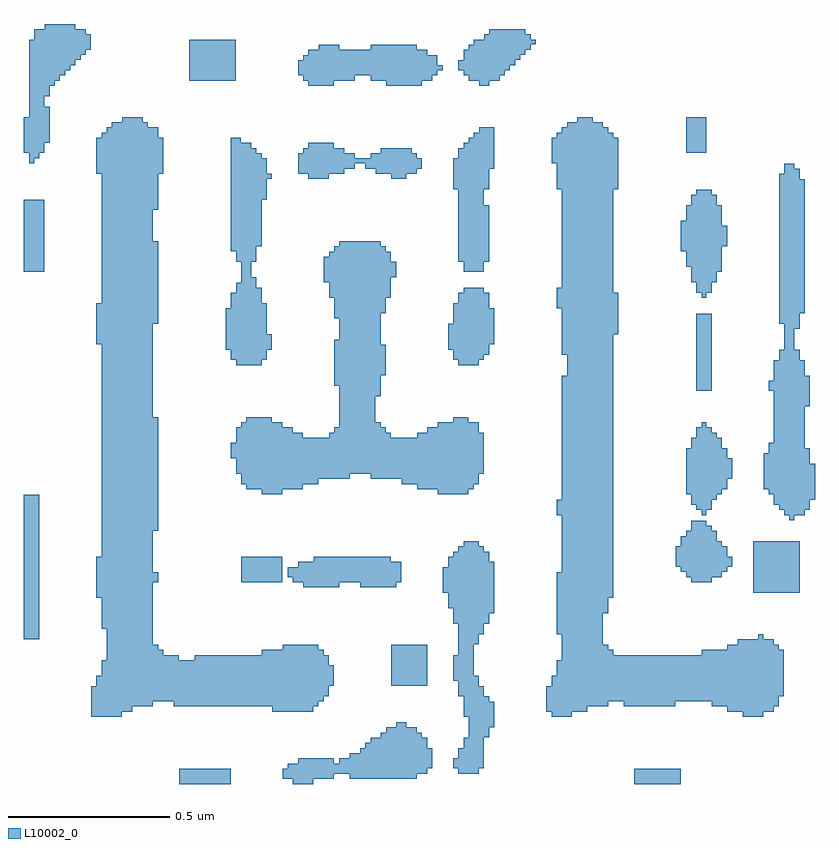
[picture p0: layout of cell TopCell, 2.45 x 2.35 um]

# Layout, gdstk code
import gdstk
lib = gdstk.Library(unit=1e-6, precision=1e-09)
def R(c, l, rs):  # rectangles x0, y0, x1, y1
    for r in rs: c.add(gdstk.rectangle(r[:2], r[2:], *l))
L10002_0 = (10002, 0)

topcell = lib.new_cell('TopCell')
R(topcell, L10002_0, [(1.504,1.024,1.663,1.071), (1.856,1.024,1.919,1.087), (2.912,1.024,3.055,1.071), (1.824,1.04,1.856,1.071), (1.919,1.04,1.983,1.103), (2.032,1.04,2.239,1.119), (1.983,1.056,2.032,1.087), (2.239,1.056,2.255,1.183), (2.255,1.056,2.271,1.167), (2.368,1.056,2.431,1.135), (1.84,1.071,1.856,1.087), (2.271,1.072,2.287,1.135), (2.352,1.072,2.368,1.103), (2.431,1.072,2.447,1.327), (1.872,1.087,1.919,1.103), (2,1.087,2.032,1.103), (2.064,1.119,2.239,1.135), (2.08,1.135,2.239,1.151), (2.384,1.135,2.431,1.167), (2.096,1.151,2.239,1.167), (2.128,1.167,2.239,1.183), (2.4,1.167,2.415,1.775), (2.415,1.167,2.431,1.359), (2.447,1.168,2.463,1.295), (2.144,1.183,2.239,1.199), (2.176,1.199,2.207,1.215), (2.463,1.2,2.479,1.279), (1.232,1.232,1.327,1.327), (2.384,1.232,2.4,1.775), (2.656,1.232,2.719,1.359), (3.248,1.232,3.311,1.471), (1.327,1.248,1.359,3.071), (1.792,1.248,1.919,1.439), (2.64,1.248,2.656,1.327), (2.719,1.248,2.767,3.071), (3.2,1.248,3.248,1.455), (3.311,1.248,3.343,1.471), (1.359,1.264,1.391,3.087), (1.391,1.264,1.407,3.071), (1.407,1.264,1.423,3.055), (1.488,1.264,1.503,1.423), (1.503,1.264,1.792,1.407), (1.919,1.264,1.935,1.455), (2.767,1.264,2.783,3.087), (2.783,1.264,2.815,3.071), (2.815,1.264,2.831,1.455), (2.88,1.264,3.039,1.423), (3.152,1.264,3.2,1.439), (3.343,1.264,3.359,1.455), (1.423,1.28,1.439,1.455), (1.439,1.28,1.455,1.439), (1.455,1.28,1.488,1.423), (1.935,1.28,1.951,1.439), (2.831,1.28,2.847,1.439), (2.847,1.28,2.88,1.423), (3.039,1.28,3.152,1.423), (1.951,1.296,1.967,1.423), (2.368,1.296,2.384,1.759), (3.359,1.296,3.375,1.439), (1.248,1.327,1.327,1.359), (1.967,1.328,1.983,1.391), (2.16,1.328,2.271,1.455), (2.352,1.344,2.368,1.423), (1.264,1.359,1.327,1.407), (2.672,1.359,2.719,1.407), (1.28,1.407,1.327,3.055), (1.552,1.407,1.792,1.423), (2.688,1.407,2.719,2.287), (1.76,1.423,1.792,1.439), (3.12,1.423,3.152,1.439), (1.824,1.439,1.919,1.455), (3.232,1.455,3.248,1.471), (2.415,1.456,2.431,1.775), (3.296,1.471,3.311,1.487), (1.024,1.472,1.071,1.919), (2.431,1.488,2.447,1.759), (2.672,1.488,2.688,1.679), (1.264,1.504,1.28,3.039), (2.352,1.52,2.368,1.743), (2.447,1.52,2.463,1.743), (2.463,1.552,2.479,1.711), (2.815,1.552,2.831,3.055), (2.336,1.568,2.352,1.727), (1.248,1.6,1.264,1.727), (2.831,1.6,2.847,3.039), (2.32,1.616,2.336,1.695), (3.28,1.616,3.423,1.775), (1.888,1.632,1.999,1.711), (2.064,1.632,2.159,1.727), (2.159,1.632,2.175,1.711), (1.423,1.648,1.439,1.679), (1.696,1.648,1.823,1.727), (1.856,1.648,1.888,1.695), (1.999,1.648,2.064,1.727), (2.175,1.648,2.191,1.711), (3.088,1.648,3.135,1.839), (3.135,1.648,3.151,1.823), (1.84,1.664,1.856,1.695), (3.072,1.664,3.088,1.807), (3.151,1.664,3.167,1.807), (3.167,1.664,3.183,1.775), (3.056,1.68,3.072,1.791), (3.183,1.68,3.199,1.759), (1.872,1.695,1.888,1.711), (3.04,1.696,3.056,1.759), (3.199,1.696,3.215,1.727), (1.92,1.711,1.999,1.727), (1.423,1.808,1.439,2.159), (3.392,1.84,3.407,2.943), (2.672,1.856,2.688,1.903), (3.12,1.856,3.135,2.143), (3.376,1.856,3.392,2.943), (3.407,1.856,3.423,2.367), (3.423,1.856,3.439,2.335), (3.104,1.872,3.12,2.127), (3.135,1.872,3.151,2.127), (3.36,1.872,3.376,2.367), (3.439,1.872,3.455,2.063), (3.088,1.888,3.104,2.095), (3.344,1.888,3.36,2.335), (3.151,1.904,3.167,2.111), (3.455,1.904,3.471,2.015), (1.76,1.92,1.791,2.159), (1.791,1.92,1.823,2.143), (2.304,1.92,2.399,2.143), (3.072,1.92,3.088,2.063), (3.167,1.92,3.183,2.095), (3.328,1.92,3.344,2.079), (1.712,1.936,1.76,2.159), (1.823,1.936,1.855,2.127), (1.855,1.936,1.887,2.111), (2.24,1.936,2.304,2.111), (2.399,1.936,2.415,2.143), (3.183,1.936,3.199,2.063), (3.312,1.936,3.328,2.047), (1.696,1.952,1.712,2.143), (1.887,1.952,1.935,2.095), (2.192,1.952,2.24,2.095), (2.415,1.952,2.431,2.143), (1.935,1.968,2.031,2.095), (2.096,1.968,2.111,2.703), (2.111,1.968,2.127,2.143), (2.127,1.968,2.143,2.127), (2.143,1.968,2.159,2.111), (2.159,1.968,2.192,2.095), (3.199,1.968,3.215,2.031), (1.68,1.984,1.696,2.127), (2.031,1.984,2.096,2.703), (2.431,1.984,2.447,2.111), (1.664,2.032,1.68,2.079), (1.968,2.095,2.031,2.111), (1.984,2.111,2.031,2.127), (2.272,2.111,2.304,2.127), (2,2.127,2.031,2.703), (2.352,2.143,2.399,2.159), (3.439,2.192,3.455,2.287), (2.111,2.224,2.127,2.703), (3.104,2.24,3.151,2.479), (3.328,2.24,3.344,2.271), (1.984,2.256,2,2.399), (2.704,2.287,2.719,3.071), (2.127,2.288,2.143,2.383), (1.68,2.32,1.743,2.575), (1.743,2.32,1.759,2.559), (2.368,2.32,2.431,2.543), (1.664,2.336,1.68,2.543), (1.759,2.336,1.775,2.511), (2.352,2.336,2.368,2.511), (2.431,2.336,2.447,2.559), (2.447,2.352,2.463,2.543), (2.688,2.352,2.704,3.055), (1.648,2.368,1.664,2.495), (1.775,2.368,1.791,2.415), (2.336,2.368,2.352,2.447), (1.248,2.384,1.264,2.511), (2.463,2.384,2.479,2.495), (2.847,2.416,2.863,2.543), (3.407,2.432,3.423,2.927), (1.423,2.448,1.439,2.703), (3.36,2.448,3.376,2.911), (1.984,2.464,2,2.687), (2.127,2.48,2.143,2.687), (3.423,2.48,3.439,2.895), (2.672,2.496,2.688,2.559), (1.968,2.528,1.984,2.671), (2.143,2.528,2.159,2.671), (3.12,2.528,3.135,2.863), (2.384,2.543,2.431,2.559), (3.104,2.544,3.12,2.863), (3.135,2.544,3.151,2.863), (1.696,2.575,1.727,3.007), (1.727,2.575,1.743,2.591), (1.952,2.576,1.968,2.655), (3.088,2.576,3.104,2.847), (3.151,2.576,3.167,2.847), (2.159,2.592,2.175,2.639), (1.024,2.608,1.087,2.831), (2.384,2.608,2.447,3.007), (3.167,2.608,3.183,2.815), (3.072,2.624,3.088,2.815), (1.68,2.64,1.695,3.023), (1.695,2.64,1.696,3.007), (1.727,2.64,1.743,2.991), (2.368,2.64,2.384,2.991), (2.447,2.64,2.463,2.815), (1.664,2.672,1.68,3.023), (3.056,2.672,3.072,2.767), (1.743,2.688,1.759,2.975), (3.183,2.688,3.199,2.751), (1.423,2.8,1.439,3.055), (1.759,2.832,1.775,2.959), (2.352,2.864,2.368,2.959), (2.447,2.864,2.463,3.055), (2.672,2.864,2.688,3.039), (2.847,2.864,2.863,3.023), (1.775,2.896,1.791,2.911), (1.904,2.896,1.967,3.007), (2.16,2.896,2.207,2.991), (1.248,2.912,1.264,3.023), (1.439,2.912,1.455,3.023), (1.872,2.912,1.904,2.975), (1.967,2.912,1.983,3.007), (1.983,2.912,2.015,2.991), (2.112,2.912,2.16,2.975), (2.207,2.912,2.223,2.991), (2.223,2.912,2.239,2.975), (2.015,2.928,2.047,2.975), (2.08,2.928,2.112,2.959), (2.239,2.928,2.255,2.959), (2.463,2.928,2.479,3.055), (1.04,2.944,1.055,3.327), (2.047,2.944,2.08,2.959), (2.656,2.944,2.672,3.023), (2.096,2.959,2.112,2.975), (1.055,2.96,1.071,3.327), (1.888,2.975,1.904,2.991), (2.128,2.975,2.16,2.991), (1.024,2.976,1.04,3.087), (1.071,2.976,1.087,3.359), (3.072,2.976,3.135,3.087), (2.4,3.007,2.447,3.023), (1.087,3.008,1.103,3.119), (2.416,3.023,2.447,3.039), (2.432,3.039,2.447,3.055), (1.296,3.055,1.327,3.071), (1.328,3.071,1.359,3.087), (2.736,3.071,2.767,3.087), (1.087,3.152,1.103,3.359), (1.103,3.184,1.119,3.375), (1.904,3.184,1.983,3.295), (2.144,3.184,2.239,3.311), (2.239,3.184,2.255,3.295), (2.432,3.184,2.463,3.327), (1.119,3.2,1.135,3.375), (1.536,3.2,1.679,3.327), (1.888,3.2,1.904,3.279), (1.983,3.2,1.999,3.311), (1.999,3.2,2.047,3.295), (2.096,3.2,2.144,3.311), (2.255,3.2,2.271,3.295), (2.271,3.2,2.287,3.279), (2.4,3.2,2.432,3.311), (2.463,3.2,2.495,3.343), (1.135,3.216,1.151,3.375), (1.872,3.216,1.888,3.263), (2.047,3.216,2.096,3.295), (2.287,3.216,2.303,3.279), (2.384,3.216,2.4,3.295), (2.495,3.216,2.511,3.359), (1.151,3.232,1.167,3.375), (2.303,3.232,2.319,3.247), (2.368,3.232,2.384,3.263), (2.511,3.232,2.527,3.359), (1.167,3.248,1.183,3.375), (2.527,3.248,2.543,3.359), (1.183,3.264,1.199,3.359), (2.543,3.264,2.559,3.359), (1.199,3.28,1.215,3.359), (2.559,3.28,2.575,3.359), (1.936,3.295,1.983,3.311), (1.215,3.296,1.231,3.343), (2.575,3.296,2.591,3.343), (2.416,3.311,2.432,3.327), (2.591,3.312,2.607,3.327), (1.056,3.327,1.071,3.359), (2.448,3.327,2.463,3.343), (2.464,3.343,2.495,3.359), (1.088,3.359,1.103,3.375)])

lib.write_gds('TopCell.gds')
